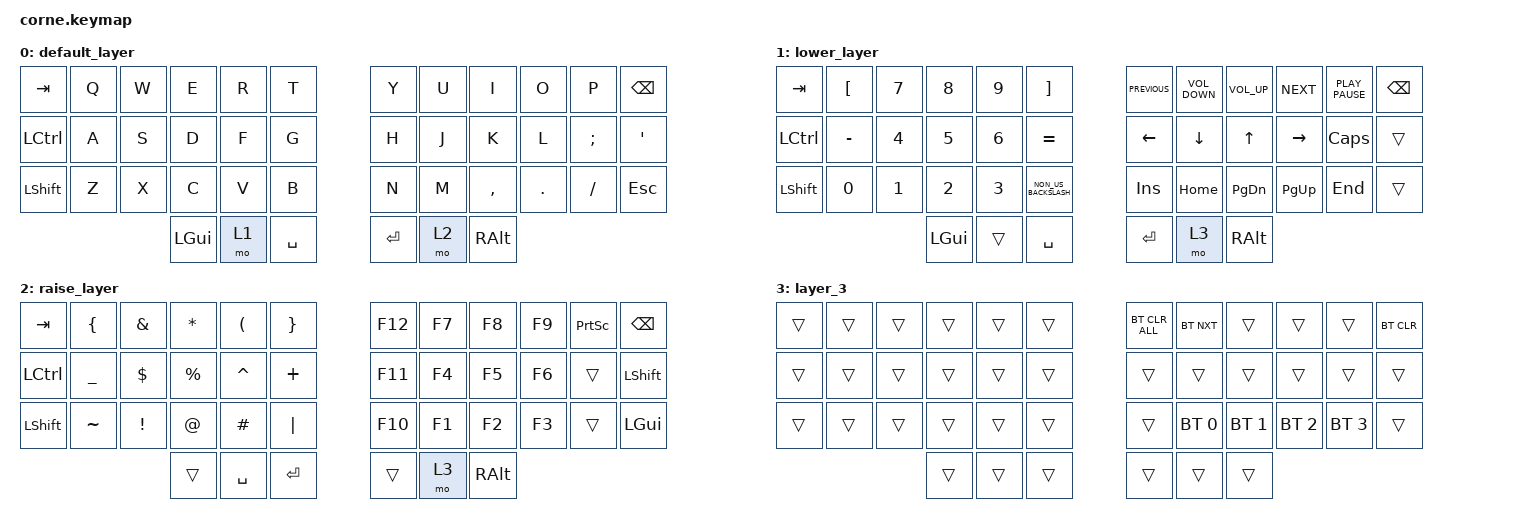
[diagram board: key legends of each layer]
/*
 * Copyright (c) 2020 The ZMK Contributors
 *
 * SPDX-License-Identifier: MIT
 */

#include <behaviors.dtsi>
#include <dt-bindings/zmk/bt.h>
#include <dt-bindings/zmk/keys.h>

/ {
    keymap {
        compatible = "zmk,keymap";

        default_layer {
            // -----------------------------------------------------------------------------------------
            // |  TAB |  Q  |  W  |  E  |  R  |  T  |   |  Y  |  U   |  I  |  O  |  P  | BSPC |
            // | CTRL |  A  |  S  |  D  |  F  |  G  |   |  H  |  J   |  K  |  L  |  ;  |  '   |
            // | SHFT |  Z  |  X  |  C  |  V  |  B  |   |  N  |  M   |  ,  |  .  |  /  | ESC  |
            //                    | GUI | LWR | SPC |   | ENT | RSE  | ALT |

            bindings = <
&kp TAB    &kp Q  &kp W  &kp E     &kp R  &kp T        &kp Y    &kp U  &kp I      &kp O    &kp P     &kp BSPC
&kp LCTRL  &kp A  &kp S  &kp D     &kp F  &kp G        &kp H    &kp J  &kp K      &kp L    &kp SEMI  &kp SQT
&kp LSHFT  &kp Z  &kp X  &kp C     &kp V  &kp B        &kp N    &kp M  &kp COMMA  &kp DOT  &kp FSLH  &kp ESC
                         &kp LGUI  &mo 1  &kp SPACE    &kp RET  &mo 2  &kp RALT
            >;
        };

        lower_layer {
            // -----------------------------------------------------------------------------------------
            // |  TAB |  1  |  2  |  3  |  4  |  5  |   |  6  |  7  |  8  |  9  |  0  | BSPC |
            // | BTCLR| BT1 | BT2 | BT3 | BT4 | BT5 |   | LFT | DWN |  UP | RGT |     |      |
            // | SHFT |     |     |     |     |     |   |     |     |     |     |     |      |
            //                    | GUI |     | SPC |   | ENT |     | ALT |

            bindings = <
&kp TAB    &kp LEFT_BRACKET  &kp NUMBER_7  &kp NUMBER_8  &kp NUMBER_9  &kp RIGHT_BRACKET       &kp K_PREVIOUS  &kp C_VOLUME_DOWN  &kp C_VOLUME_UP  &kp K_NEXT  &kp K_PLAY_PAUSE  &kp BSPC
&kp LCTRL  &kp MINUS         &kp NUMBER_4  &kp NUMBER_5  &kp NUMBER_6  &kp EQUAL               &kp LEFT        &kp DOWN           &kp UP           &kp RIGHT   &kp CAPS          &trans
&kp LSHFT  &kp N0            &kp NUMBER_1  &kp NUMBER_2  &kp NUMBER_3  &kp NON_US_BACKSLASH    &kp INSERT      &kp HOME           &kp PAGE_DOWN    &kp PG_UP   &kp END           &trans
                                           &kp LGUI      &trans        &kp SPACE               &kp RET         &mo 3              &kp RALT
            >;
        };

        raise_layer {
            // -----------------------------------------------------------------------------------------
            // |  TAB |  !  |  @  |  #  |  $  |  %  |   |  ^  |  &  |  *  |  (  |  )  | BSPC |
            // | CTRL |     |     |     |     |     |   |  -  |  =  |  [  |  ]  |  \  |  `   |
            // | SHFT |     |     |     |     |     |   |  _  |  +  |  {  |  }  | "|" |  ~   |
            //                    | GUI |     | SPC |   | ENT |     | ALT |

            bindings = <
&kp TAB    &kp LEFT_BRACE  &kp AMPS  &kp ASTRK    &kp LPAR   &kp RIGHT_BRACE    &kp F12  &kp F7  &kp F8    &kp F9  &kp PRINTSCREEN  &kp BACKSPACE
&kp LCTRL  &kp UNDERSCORE  &kp DLLR  &kp PERCENT  &kp CARET  &kp PLUS           &kp F11  &kp F4  &kp F5    &kp F6  &trans           &kp LSHFT
&kp LSHFT  &kp TILDE       &kp EXCL  &kp AT       &kp HASH   &kp PIPE           &kp F10  &kp F1  &kp F2    &kp F3  &trans           &kp LGUI
                                     &trans       &kp SPACE  &kp RET            &trans   &mo 3   &kp RALT
            >;
        };

        layer_3 {
            bindings = <
&trans  &trans  &trans  &trans  &trans  &trans    &bt BT_CLR_ALL  &bt BT_NXT    &trans        &trans        &trans        &bt BT_CLR
&trans  &trans  &trans  &trans  &trans  &trans    &trans          &trans        &trans        &trans        &trans        &trans
&trans  &trans  &trans  &trans  &trans  &trans    &trans          &bt BT_SEL 0  &bt BT_SEL 1  &bt BT_SEL 2  &bt BT_SEL 3  &trans
                        &trans  &trans  &trans    &trans          &trans        &trans
            >;
        };
    };
};
